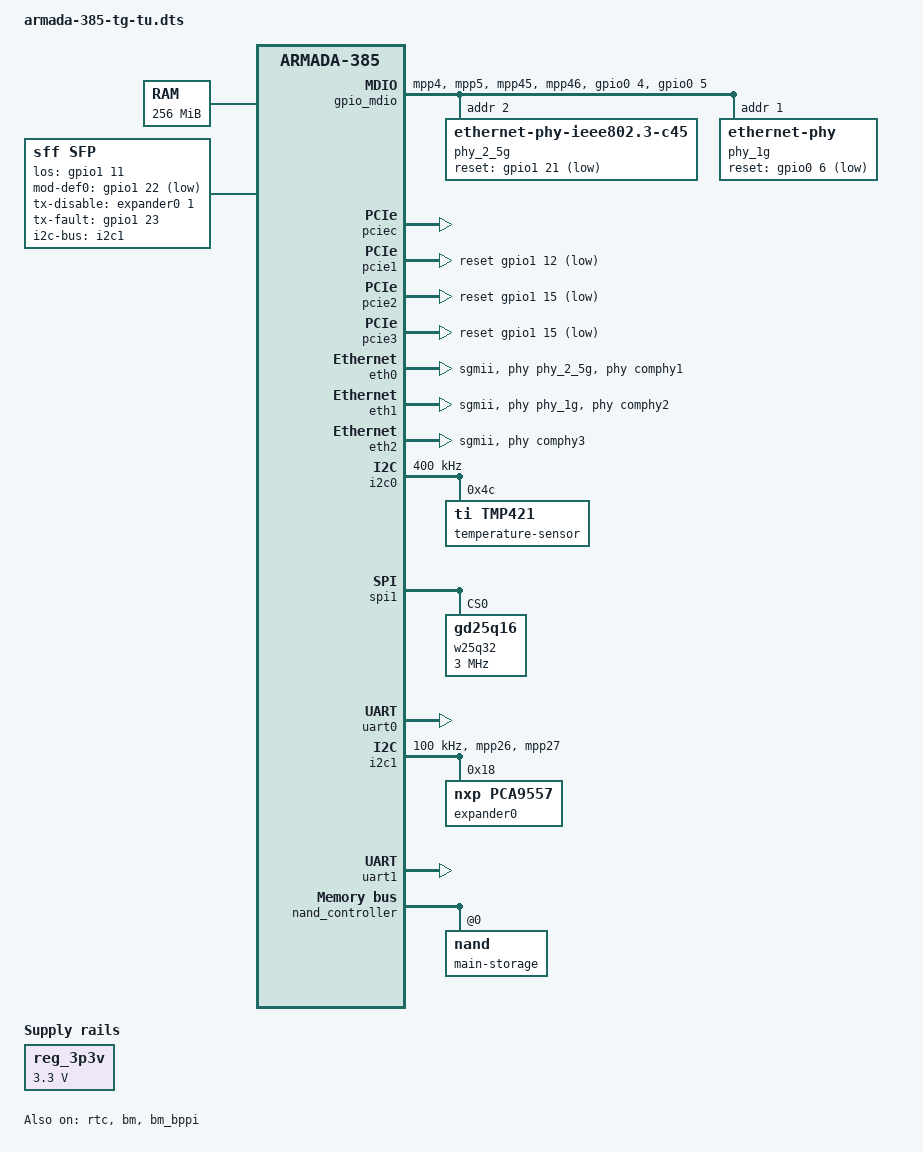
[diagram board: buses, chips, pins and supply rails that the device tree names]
// SPDX-License-Identifier: (GPL-2.0 OR MIT)
/*
 *  Copyright (C) 2015 Russell King
 */

/dts-v1/;

#include <dt-bindings/input/input.h>
#include <dt-bindings/gpio/gpio.h>
#include "armada-385.dtsi"

/ {
	aliases {
		/* So that mvebu u-boot can update the MAC addresses */
		ethernet1 = &eth0;
		ethernet2 = &eth1;
		ethernet3 = &eth2;
		mdio-gpio0 = &gpio_mdio;
	};

	chosen {
		stdout-path = "serial0:115200n8";
	};

	memory {
		device_type = "memory";
		reg = <0x00000000 0x10000000>; /* 256 MB */
	};

	soc {
		ranges = <MBUS_ID(0xf0, 0x01) 0 0xf1000000 0x100000
			  MBUS_ID(0x01, 0x1d) 0 0xfff00000 0x100000
			  MBUS_ID(0x09, 0x19) 0 0xf1100000 0x10000
			  MBUS_ID(0x09, 0x15) 0 0xf1110000 0x10000
			  MBUS_ID(0x0c, 0x04) 0 0xf1200000 0x100000>;

	};

	reg_3p3v: regulator-3p3v {
		compatible = "regulator-fixed";
		regulator-name = "3P3V";
		regulator-min-microvolt = <3300000>;
		regulator-max-microvolt = <3300000>;
		regulator-always-on;
	};

	sfp: sfp {
		compatible = "sff,sfp";
		i2c-bus = <&i2c1>;
		los-gpio = <&gpio1 11 GPIO_ACTIVE_HIGH>;
		mod-def0-gpio = <&gpio1 22 GPIO_ACTIVE_LOW>;
		tx-disable-gpio = <&expander0 1 GPIO_ACTIVE_HIGH>;
		tx-fault-gpio = <&gpio1 23 GPIO_ACTIVE_HIGH>;
	};

	gpio_mdio: gpio-mdio {
		compatible = "virtual,mdio-gpio";
		#address-cells = <1>;
		#size-cells = <0>;
		pinctrl-0 = <&gpio_mdio_pins &phy_clk_pins>;
		pinctrl-names = "default";
		gpios = <&gpio0 4 0 &gpio0 5 0>;

		phy_2_5g: ethernet-phy@0 {
			compatible = "ethernet-phy-ieee802.3-c45";
			reg = <2>;
			pinctrl-0 = <&phy_2_5g_reset>;
			pinctrl-names = "default";
			reset-gpios = <&gpio1 21 GPIO_ACTIVE_LOW>;
			reset-assert-us = <10000>;
			reset-deassert-us = <10000>;
		};

		phy_1g: ethernet-phy@1 {
			reg = <1>;
			pinctrl-0 = <&phy_1g_reset>;
			pinctrl-names = "default";
			reset-gpios = <&gpio0 6 GPIO_ACTIVE_LOW>;
		};
	};
};

&pciec {
	status = "okay";
};

&pcie1 {
	reset-gpios = <&gpio1 12 GPIO_ACTIVE_LOW>;
	status = "okay";
};

&pcie2 {
	reset-gpios = <&gpio1 15 GPIO_ACTIVE_LOW>;
	status = "okay";
};

&pcie3 {
	reset-gpios = <&gpio1 15 GPIO_ACTIVE_LOW>;
	status = "okay";
};

&rtc {
	status = "okay";
};


&bm {
	status = "okay";
};

&bm_bppi {
	status = "okay";
};

&eth0 {
	/* ethernet@70000 */
	phy = <&phy_2_5g>;
	phy-mode = "sgmii";
	phys = <&comphy1 0>;
	buffer-manager = <&bm>;
	bm,pool-long = <0>;
	bm,pool-short = <1>;
	status = "okay";
};

&eth1 {
	/* ethernet@30000 */
	bm,pool-long = <2>;
	bm,pool-short = <1>;
	buffer-manager = <&bm>;
	phys = <&comphy2 1>;
	phy = <&phy_1g>;
	phy-mode = "sgmii";
	status = "okay";
};

&eth2 {
	/* ethernet@34000 */
	bm,pool-long = <3>;
	bm,pool-short = <1>;
	buffer-manager = <&bm>;
	managed = "in-band-status";
	phys = <&comphy3 2>;
	phy-mode = "sgmii";
	sfp = <&sfp>;
	status = "okay";
};

&mdio {
	/* The native MDIO bus does not support clause 45 framing that the
	 * 2.5Gb PHY requires.
	 */
	status = "disabled";
};

&i2c0 {
	clock-frequency = <400000>;
	pinctrl-0 = <&i2c0_pins>;
	pinctrl-names = "default";
	status = "okay";

	temperature-sensor@4c {
		compatible = "ti,tmp421";
		reg = <0x4c>;
	};
};

&pinctrl {
	phy_clk_pins: phy-clk-pins {
		marvell,pins = "mpp45", "mpp46";
		marvell,function = "ref";
	};
};

&spi1 {
	pinctrl-0 = <&spi1_pins>;
	pinctrl-names = "default";
	status = "okay";

	w25q32: spi-flash@0 {
		#address-cells = <1>;
		#size-cells = <1>;
		compatible = "gd25q16", "jedec,spi-nor";
		reg = <0>; /* Chip select 0 */
		spi-max-frequency = <3000000>;
	};
};

&uart0 {
	pinctrl-0 = <&uart0_pins>;
	pinctrl-names = "default";
	status = "okay";
};

&i2c1 {
	clock-frequency = <100000>;
	pinctrl-0 = <&tg_tu_i2c1_pins>;
	pinctrl-names = "default";
	status = "okay";

	expander0: gpio-expander@18 {
		compatible = "nxp,pca9557";
		gpio-controller;
		#gpio-cells = <2>;
		reg = <0x18>;
	};
};

&pinctrl {
	tg_tu_i2c1_pins: i2c1-pins {
		marvell,pins = "mpp26", "mpp27";
		marvell,function = "i2c1";
	};

	phy_2_5g_reset: phy-2-5g-reset {
		marvell,pins = "mpp53";
		marvell,function = "gpio";
	};

	phy_1g_reset: phy-1g-reset {
		marvell,pins = "mpp6";
		marvell,function = "gpio";
	};

	gpio_mdio_pins: gp-mdio-pins {
		marvell,pins = "mpp4", "mpp5";
		marvell,function = "gpio";
	};
};

&uart1 {
	pinctrl-0 = <&uart1_pins>;
	pinctrl-names = "default";
	status = "okay";
};

&nand_controller {
	pinctrl-0 = <&nand_pins &nand_rb>;
	pinctrl-names = "default";
	status = "okay";

	nand@0 {
		reg = <0>;
		label = "main-storage";
		nand-rb = <0>;
		nand-on-flash-bbt;
		nand-ecc-strength = <8>;
		nand-ecc-step-size = <512>;
	};
};
